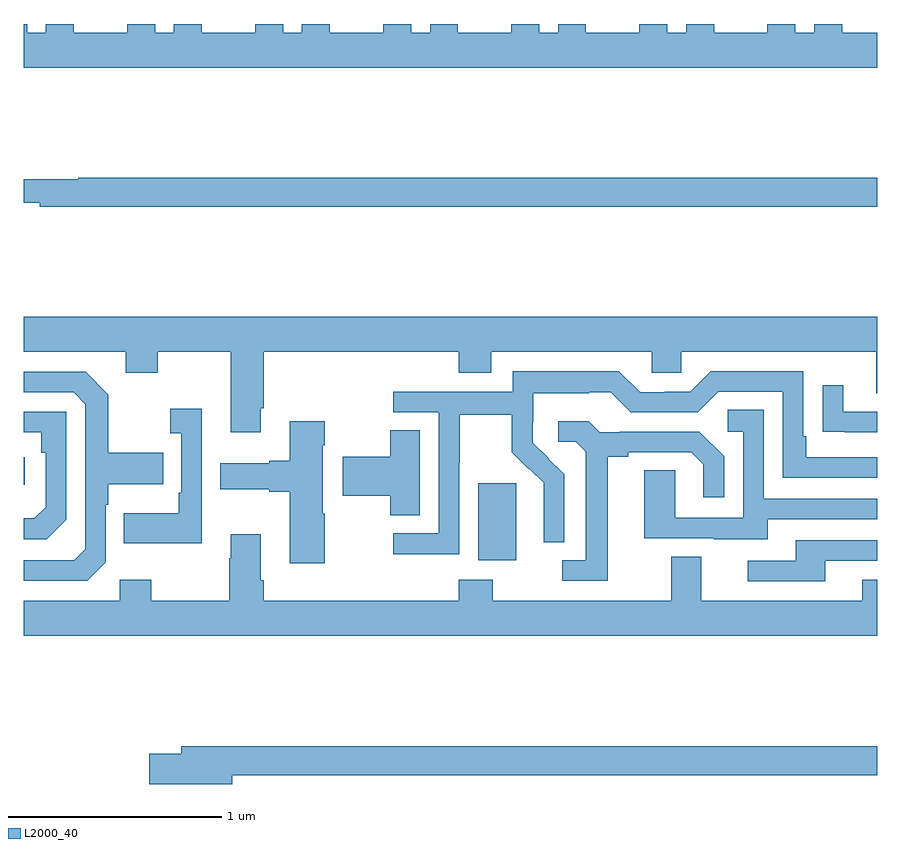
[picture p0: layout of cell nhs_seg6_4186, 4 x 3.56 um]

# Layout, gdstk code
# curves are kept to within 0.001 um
import gdstk
lib = gdstk.Library(unit=1e-6, precision=1e-09)
def R(c, l, rs):  # rectangles x0, y0, x1, y1
    for r in rs: c.add(gdstk.rectangle(r[:2], r[2:], *l))
def P(c, l, *ps):  # polygons
    for p in ps: c.add(gdstk.Polygon(p, *l))
L2000_40 = (2000, 40)

nhs_seg6_4186 = lib.new_cell('nhs_seg6_4186')
R(nhs_seg6_4186, L2000_40, [(359.129,984.986,359.308,985.347), (357,985.34,357.004,985.47)])
P(nhs_seg6_4186, L2000_40, [(361,987.46),(360.835,987.46),(360.835,987.5),(360.704,987.5),(360.704,987.46),(360.616,987.46),(360.616,987.5),(360.485,987.5),(360.485,987.46),(360.235,987.46),(360.235,987.5),(360.104,987.5),(360.104,987.46),(360.016,987.46),(360.016,987.5),(359.885,987.5),(359.885,987.46),(359.635,987.46),(359.635,987.5),(359.504,987.5),(359.504,987.46),(359.416,987.46),(359.416,987.5),(359.285,987.5),(359.285,987.46),(359.035,987.46),(359.035,987.5),(358.904,987.5),(358.904,987.46),(358.816,987.46),(358.816,987.5),(358.685,987.5),(358.685,987.46),(358.435,987.46),(358.435,987.5),(358.304,987.5),(358.304,987.46),(358.216,987.46),(358.216,987.5),(358.085,987.5),(358.085,987.46),(357.835,987.46),(357.835,987.5),(357.704,987.5),(357.704,987.46),(357.616,987.46),(357.616,987.5),(357.485,987.5),(357.485,987.46),(357.235,987.46),(357.235,987.5),(357.104,987.5),(357.104,987.46),(357.016,987.46),(357.016,987.5),(357,987.5),(357,987.296),(361,987.296)],
  [(361,986.78),(357.255,986.78),(357.255,986.773),(357,986.773),(357,986.663),(357.076,986.663),(357.076,986.644),(361,986.644)],
  [(358.111,985.699),(358.124,985.699),(358.124,985.964),(359.039,985.964),(359.039,985.865),(359.191,985.865),(359.191,985.964),(359.943,985.964),(359.943,985.866),(360.081,985.866),(360.081,985.964),(360.995,985.964),(360.995,985.77),(361,985.77),(361,986.128),(357,986.128),(357,985.964),(357.479,985.964),(357.479,985.865),(357.627,985.865),(357.627,985.964),(357.971,985.964),(357.971,985.587),(358.111,985.587)],
  [(359.04,985.444),(359.043,985.444),(359.043,985.668),(359.287,985.668),(359.287,985.493),(359.364,985.416),(359.367,985.419),(359.438,985.349),(359.438,985.226),(359.436,985.226),(359.436,985.072),(359.532,985.072),(359.532,985.39),(359.386,985.538),(359.386,985.635),(359.388,985.635),(359.388,985.769),(359.651,985.769),(359.651,985.773),(359.751,985.773),(359.844,985.68),(360.159,985.68),(360.255,985.776),(360.558,985.776),(360.558,985.374),(361,985.374),(361,985.47),(360.667,985.47),(360.667,985.567),(360.654,985.567),(360.654,985.872),(360.219,985.872),(360.123,985.776),(360.005,985.776),(360.005,985.773),(359.889,985.773),(359.789,985.873),(359.292,985.873),(359.292,985.776),(358.731,985.776),(358.731,985.68),(358.944,985.68),(358.944,985.113),(358.731,985.113),(358.731,985.015),(359.04,985.015)],
  [(357.384,984.978),(357.384,985.247),(357.397,985.247),(357.397,985.343),(357.653,985.343),(357.653,985.491),(357.397,985.491),(357.397,985.763),(357.291,985.869),(357,985.869),(357,985.773),(357.234,985.773),(357.288,985.719),(357.288,985.038),(357.237,984.987),(357,984.987),(357,984.891),(357.297,984.891)],
  [(361,985.683),(360.841,985.683),(360.841,985.807),(360.745,985.807),(360.745,985.588),(360.847,985.588),(360.847,985.587),(361,985.587)],
  [(357.834,985.696),(357.687,985.696),(357.687,985.583),(357.738,985.583),(357.738,985.303),(357.726,985.303),(357.726,985.207),(357.469,985.207),(357.469,985.067),(357.834,985.067)],
  [(360.487,985.179),(361,985.179),(361,985.275),(360.468,985.275),(360.468,985.691),(360.3,985.691),(360.3,985.59),(360.372,985.59),(360.372,985.185),(360.054,985.185),(360.054,985.409),(359.909,985.409),(359.909,985.089),(360.233,985.089),(360.233,985.085),(360.487,985.085)],
  [(357.198,985.176),(357.198,985.683),(357,985.683),(357,985.587),(357.082,985.587),(357.082,985.49),(357.102,985.49),(357.102,985.236),(357.049,985.183),(357,985.183),(357,985.086),(357.108,985.086)],
  [(359.737,985.472),(359.833,985.472),(359.833,985.494),(360.128,985.494),(360.185,985.437),(360.185,985.281),(360.282,985.281),(360.282,985.474),(360.166,985.59),(359.794,985.59),(359.794,985.587),(359.7,985.587),(359.648,985.639),(359.505,985.639),(359.505,985.542),(359.586,985.542),(359.633,985.495),(359.633,984.987),(359.523,984.987),(359.523,984.891),(359.737,984.891)],
  [(358.41,985.205),(358.402,985.205),(358.402,985.526),(358.41,985.526),(358.41,985.639),(358.247,985.639),(358.247,985.454),(358.151,985.454),(358.151,985.441),(357.921,985.441),(357.921,985.319),(358.151,985.319),(358.151,985.307),(358.247,985.307),(358.247,984.972),(358.41,984.972)],
  [(358.855,985.595),(358.717,985.595),(358.717,985.472),(358.494,985.472),(358.494,985.289),(358.717,985.289),(358.717,985.198),(358.855,985.198)],
  [(361,984.895),(360.929,984.895),(360.929,984.796),(360.175,984.796),(360.175,985.004),(360.035,985.004),(360.035,984.796),(359.199,984.796),(359.199,984.895),(359.039,984.895),(359.039,984.796),(358.124,984.796),(358.124,984.892),(358.111,984.892),(358.111,985.108),(357.971,985.108),(357.971,984.995),(357.964,984.995),(357.964,984.796),(357.597,984.796),(357.597,984.895),(357.45,984.895),(357.45,984.796),(357,984.796),(357,984.632),(361,984.632)],
  [(360.757,984.984),(361,984.984),(361,985.08),(360.617,985.08),(360.617,984.984),(360.393,984.984),(360.393,984.888),(360.757,984.888)],
  [(357.976,983.98),(361,983.98),(361,984.116),(357.737,984.116),(357.737,984.08),(357.588,984.08),(357.588,983.938),(357.976,983.938)])

lib.write_gds('nhs_seg6_4186.gds')
